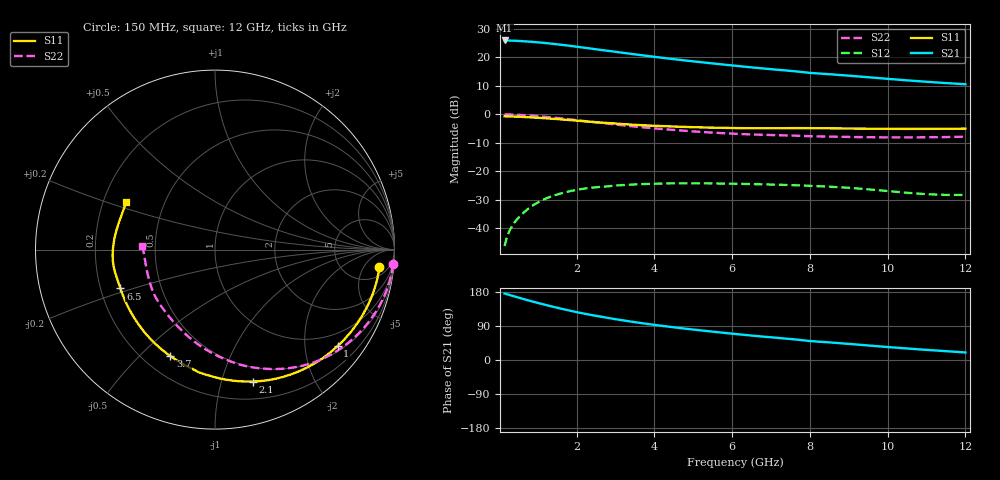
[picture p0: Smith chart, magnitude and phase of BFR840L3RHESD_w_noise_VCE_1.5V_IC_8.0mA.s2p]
! Infineon Technologies  Discrete & RF Semiconductors
! BFR840L3RHESD
! VCE =  1.5 V,  IC =  8.0 mA
! Common Emitter S-Parameters:  Jun 2012
# GHz  S  MA  R  50
!  f  S11  S21  S12  S22
! GHz  MAG  ANG  MAG  ANG  MAG  ANG  MAG  ANG
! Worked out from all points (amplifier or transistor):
!   91 points, 150 MHz to 12 GHz, reference 50 ohm
!   highest |S21| = 25.9 dB at 150 MHz (marker M1)
!   |S21| within 3 dB of that: start of sweep to 2.454 GHz
!   unconditionally stable (mu >= 1): 8.66 GHz to end of sweep
!   at 1.3 GHz: K = 0.10, MSG = 26.9 dB, |S12| = -29.0 dB
!   at 4.3 GHz: K = 0.37, MSG = 21.9 dB, |S12| = -24.2 dB
!   at 12 GHz: K = 2.17, MAG = 13.2 dB, |S12| = -28.2 dB
!   lowest NFmin = 0.61 dB at 450 MHz
!   S11 on the Smith chart (normalised r, x): 150 MHz: 9, -12; 1 GHz: 0.63, -2.76; 2.1 GHz: 0.36, -1.26; 3.7 GHz: 0.31, -0.62; 6.5 GHz: 0.28, -0.18; 12 GHz: 0.30, +0.23
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0.15  0.9215 -6.0  19.64 175.4  0.0049 89.1  0.995 -4.7
0.3  0.9169 -12.1  19.53 171.0  0.0098 84.8  0.9897 -9.6
0.5  0.9068 -19.8  19.26 164.9  0.0152 76.3  0.9769 -15.8
0.7  0.8934 -27.3  18.9 159.0  0.0206 70.4  0.959 -21.8
1  0.8694 -38.2  18.23 150.7  0.0284 64.7  0.9263 -30.4
1.3  0.843 -48.6  17.41 142.9  0.0354 59.6  0.889 -38.7
1.6  0.8146 -58.5  16.52 135.5  0.0411 53.9  0.8481 -46.5
1.9  0.7848 -68.0  15.59 128.6  0.046 47.9  0.805 -53.8
2.1  0.7648 -74.0  14.98 124.3  0.0488 44.4  0.7761 -58.4
2.2  0.7551 -76.8  14.67 122.3  0.0499 42.8  0.762 -60.6
2.6  0.7194 -87.5  13.49 114.8  0.0534 37.5  0.7094 -68.9
3  0.6903 -97.4  12.45 107.7  0.0569 32.3  0.6633 -76.5
3.7  0.6435 -112.7  10.78 96.9  0.0599 25.3  0.5916 -88.8
4.2  0.6215 -122.3  9.782 90.1  0.0613 21.1  0.5522 -96.6
4.7  0.6037 -131.2  8.918 83.9  0.0619 17.3  0.5192 -104.0
5.2  0.5898 -139.4  8.177 78.1  0.0618 13.9  0.4915 -111.1
6.1  0.5738 -152.5  7.062 68.5  0.0607 9.4  0.4552 -123.2
6.5  0.5696 -157.7  6.637 64.5  0.06 7.8  0.4438 -128.4
8  0.5711 -177.1  5.307 50.0  0.0558 1.6  0.4132 -148.6
8.5  0.5678 178.4  5.037 46.5  0.054 0.2  0.4068 -153.2
10.5  0.5551 160.8  3.931 30.4  0.0422 0.4  0.3944 -172.3
12  0.5608 151.7  3.353 19.9  0.0387 12.4  0.4049 177.1
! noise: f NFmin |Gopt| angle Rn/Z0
0.45  0.61  0.39  6  0.16
0.9  0.64  0.39  11  0.16
1.9  0.68  0.41  29  0.16
3.5  0.69  0.4  49  0.14
4  0.7  0.4  57  0.14
5.5  0.74  0.4  71  0.13
7  0.81  0.38  91  0.12
8  0.88  0.36  101  0.11
10  0.98  0.34  124  0.1
12  1.13  0.3  153  0.09
